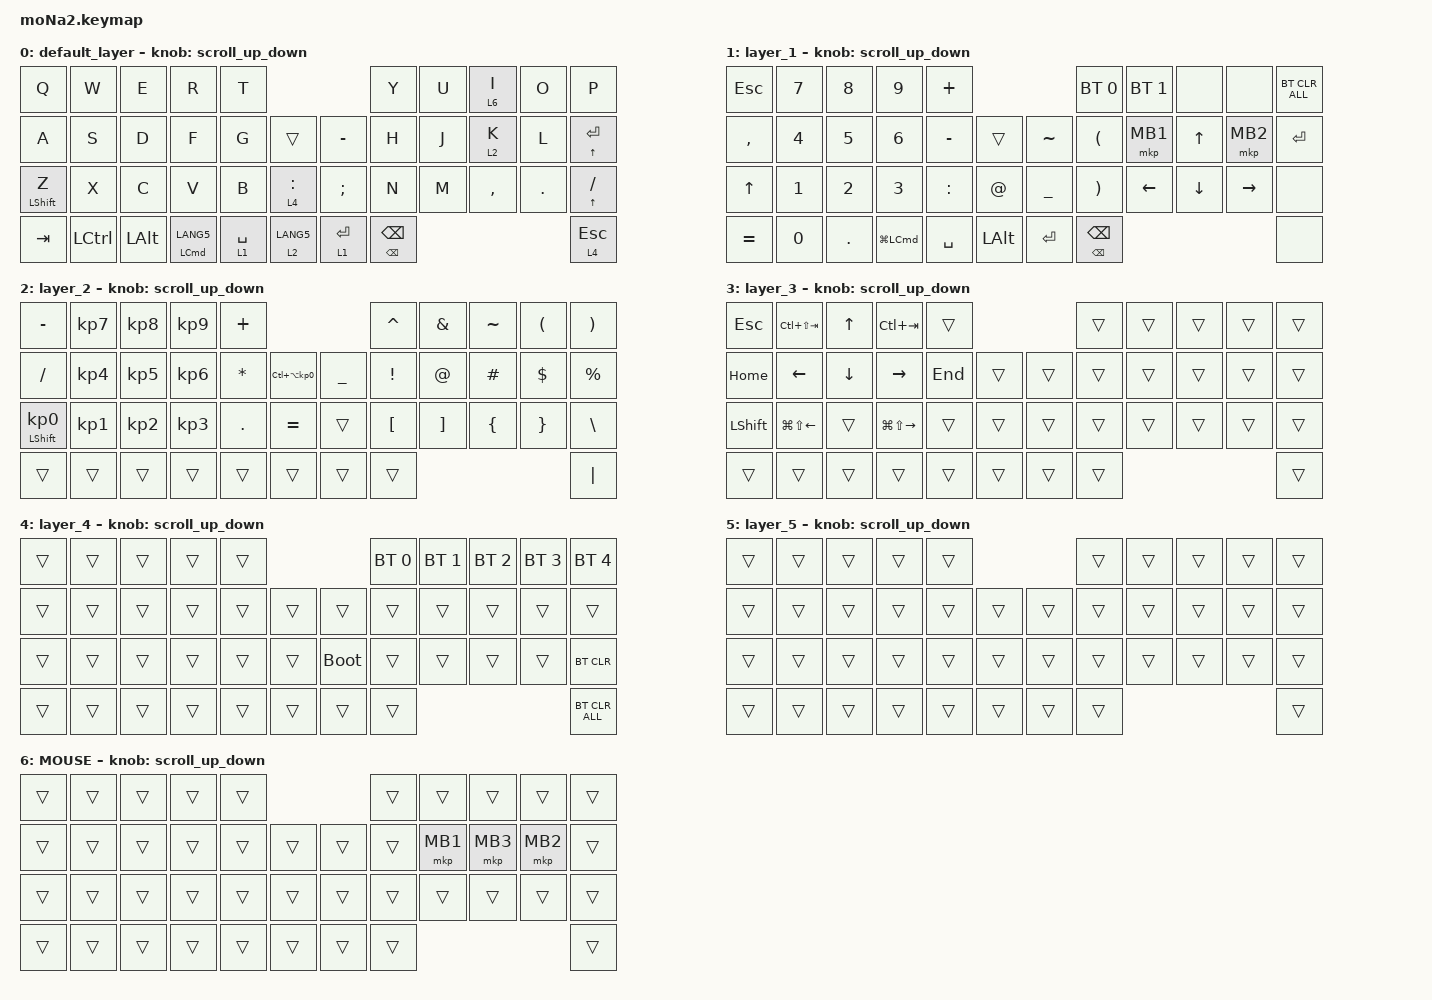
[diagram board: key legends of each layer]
#include <behaviors.dtsi>
#include <dt-bindings/zmk/bt.h>
#include <dt-bindings/zmk/keys.h>
#include <dt-bindings/zmk/pointing.h>

#define ZMK_POINTING_DEFAULT_SCRL_VAL 100
#define MOUSE 6

&mt {
    flavor = "balanced";
    quick-tap-ms = <0>;
};

/ {
    combos { compatible = "zmk,combos"; };

    macros {
        to_layer_0: to_layer_0 {
            compatible = "zmk,behavior-macro-one-param";
            #binding-cells = <1>;
            bindings = <&to 0 &macro_param_1to1 &kp MACRO_PLACEHOLDER>;
            label = "TO_LAYER_0";
        };
    };

    behaviors {
        lt_to_layer_0: lt_to_layer_0 {
            compatible = "zmk,behavior-hold-tap";
            label = "LAYER_TAP_TO_0";
            bindings = <&mo>, <&to_layer_0>;

            #binding-cells = <2>;
            tapping-term-ms = <200>;
        };

        scroll_up_down: behavior_sensor_rotate_mouse_wheel_up_down {
            compatible = "zmk,behavior-sensor-rotate";
            #sensor-binding-cells = <0>;
            bindings = <&msc SCRL_UP>, <&msc SCRL_DOWN>;

            tap-ms = <20>;
        };
    };

    keymap {
        compatible = "zmk,keymap";

        default_layer {
            bindings = <
&kp Q             &kp W      &kp E         &kp R                   &kp T                                      &kp Y                    &kp U  &lt 6 I    &kp O    &kp P
&kp A             &kp S      &kp D         &kp F                   &kp G        &trans         &kp MINUS      &kp H                    &kp J  &lt 2 K    &kp L    &mt UP ENTER
&mt LEFT_SHIFT Z  &kp X      &kp C         &kp V                   &kp B        &lt 4 COLON    &kp SEMICOLON  &kp N                    &kp M  &kp COMMA  &kp DOT  &mt UP_ARROW SLASH
&kp TAB           &kp LCTRL  &kp LEFT_ALT  &mt LEFT_COMMAND LANG5  &lt 1 SPACE  &lt 2 LANG5    &lt 1 ENTER    &mt BACKSPACE BACKSPACE                             &lt 4 ESC
            >;

            sensor-bindings = <&scroll_up_down>;
        };

        layer_1 {
            bindings = <
&kp ESC       &kp NUMBER_7  &kp NUMBER_8  &kp NUMBER_9          &kp PLUS                                   &bt BT_SEL 0             &bt BT_SEL 1  &none     &none      &bt BT_CLR_ALL
&kp COMMA     &kp NUMBER_4  &kp NUMBER_5  &kp NUMBER_6          &kp MINUS  &trans          &kp TILDE       &kp LEFT_PARENTHESIS     &mkp MB1      &kp UP    &mkp MB2   &kp ENTER
&kp UP_ARROW  &kp NUMBER_1  &kp NUMBER_2  &kp NUMBER_3          &kp COLON  &kp AT          &kp UNDERSCORE  &kp RIGHT_PARENTHESIS    &kp LEFT      &kp DOWN  &kp RIGHT  &none
&kp EQUAL     &kp N0        &kp PERIOD    &kp LG(LEFT_COMMAND)  &kp SPACE  &kp LEFT_ALT    &kp ENTER       &mt BACKSPACE BACKSPACE                                     &none
            >;

            sensor-bindings = <&scroll_up_down>;
        };

        layer_2 {
            bindings = <
&kp MINUS                   &kp KP_NUMBER_7  &kp KP_NUMBER_8  &kp KP_NUMBER_9  &kp PLUS                                                 &kp CARET         &kp AMPERSAND      &kp TILDE       &kp LEFT_PARENTHESIS  &kp RIGHT_PARENTHESIS
&kp SLASH                   &kp KP_NUMBER_4  &kp KP_NUMBER_5  &kp KP_NUMBER_6  &kp ASTERISK  &kp LC(LA(KP_NUMBER_0))    &kp UNDERSCORE  &kp EXCLAMATION   &kp AT_SIGN        &kp HASH        &kp DOLLAR            &kp PERCENT
&mt LEFT_SHIFT KP_NUMBER_0  &kp KP_NUMBER_1  &kp KP_NUMBER_2  &kp KP_NUMBER_3  &kp PERIOD    &kp EQUAL                  &trans          &kp LEFT_BRACKET  &kp RIGHT_BRACKET  &kp LEFT_BRACE  &kp RIGHT_BRACE       &kp BACKSLASH
&trans                      &trans           &trans           &trans           &trans        &trans                     &trans          &trans                                                                     &kp PIPE
            >;

            sensor-bindings = <&scroll_up_down>;
        };

        layer_3 {
            bindings = <
&kp ESCAPE      &kp LC(LS(TAB))         &kp UP_ARROW    &kp LC(TAB)              &trans                     &trans  &trans  &trans  &trans  &trans
&kp HOME        &kp LEFT_ARROW          &kp DOWN_ARROW  &kp RIGHT_ARROW          &kp END  &trans    &trans  &trans  &trans  &trans  &trans  &trans
&kp LEFT_SHIFT  &kp LG(LS(LEFT_ARROW))  &trans          &kp LG(LS(RIGHT_ARROW))  &trans   &trans    &trans  &trans  &trans  &trans  &trans  &trans
&trans          &trans                  &trans          &trans                   &trans   &trans    &trans  &trans                          &trans
            >;

            sensor-bindings = <&scroll_up_down>;
        };

        layer_4 {
            bindings = <
&trans  &trans  &trans  &trans  &trans                         &bt BT_SEL 0  &bt BT_SEL 1  &bt BT_SEL 2  &bt BT_SEL 3  &bt BT_SEL 4
&trans  &trans  &trans  &trans  &trans  &trans    &trans       &trans        &trans        &trans        &trans        &trans
&trans  &trans  &trans  &trans  &trans  &trans    &bootloader  &trans        &trans        &trans        &trans        &bt BT_CLR
&trans  &trans  &trans  &trans  &trans  &trans    &trans       &trans                                                  &bt BT_CLR_ALL
            >;

            sensor-bindings = <&scroll_up_down>;
        };

        layer_5 {
            bindings = <
&trans  &trans  &trans  &trans  &trans                    &trans  &trans  &trans  &trans  &trans
&trans  &trans  &trans  &trans  &trans  &trans    &trans  &trans  &trans  &trans  &trans  &trans
&trans  &trans  &trans  &trans  &trans  &trans    &trans  &trans  &trans  &trans  &trans  &trans
&trans  &trans  &trans  &trans  &trans  &trans    &trans  &trans                          &trans
            >;

            sensor-bindings = <&scroll_up_down>;
        };

        MOUSE {
            bindings = <
&trans  &trans  &trans  &trans  &trans                    &trans  &trans    &trans    &trans    &trans
&trans  &trans  &trans  &trans  &trans  &trans    &trans  &trans  &mkp MB1  &mkp MB3  &mkp MB2  &trans
&trans  &trans  &trans  &trans  &trans  &trans    &trans  &trans  &trans    &trans    &trans    &trans
&trans  &trans  &trans  &trans  &trans  &trans    &trans  &trans                                &trans
            >;

            sensor-bindings = <&scroll_up_down>;
        };
    };
};
